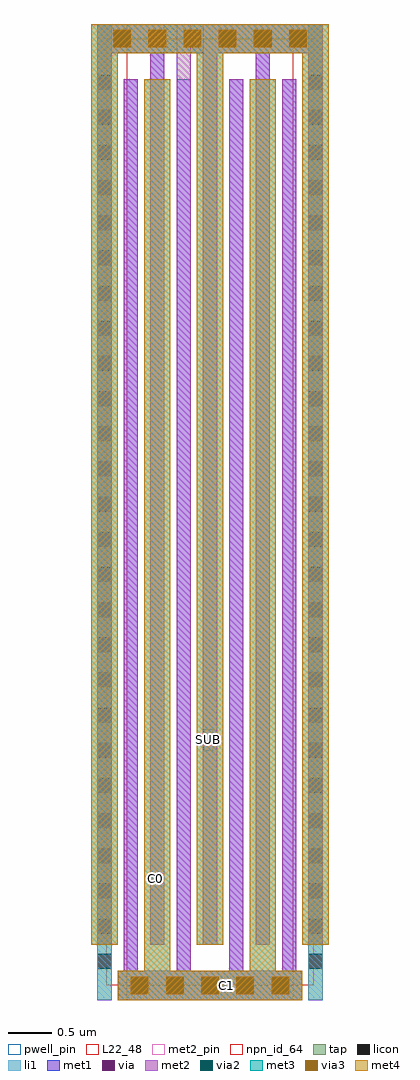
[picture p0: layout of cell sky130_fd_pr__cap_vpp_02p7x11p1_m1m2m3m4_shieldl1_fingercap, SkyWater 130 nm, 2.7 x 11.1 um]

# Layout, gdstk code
import gdstk
lib = gdstk.Library(unit=1e-6, precision=1e-09)
def R(c, l, rs):  # rectangles x0, y0, x1, y1
    for r in rs: c.add(gdstk.rectangle(r[:2], r[2:], *l))
def A(c, l, x, y, w, h, nx, ny, dx, dy):  # array of equal rectangles
    R(c, l, [(x+i*dx, y+j*dy, x+i*dx+w, y+j*dy+h) for i in range(nx) for j in range(ny)])
L22_48 = (22, 48)
tap = (65, 44)
licon = (66, 44)
li1 = (67, 20)
met1 = (68, 20)
via = (68, 44)
met2_pin = (69, 16)
met2 = (69, 20)
via2 = (69, 44)
met3 = (70, 20)
via3 = (70, 44)
met4 = (71, 20)
npn_id_64 = (82, 64)
pwell_pin = (122, 16)

sky130_fd_pr__cap_vpp_02 = lib.new_cell('sky130_fd_pr__cap_vpp_02p7x11p1_m1m2m3m4_shieldl1_fingercap')
R(sky130_fd_pr__cap_vpp_02, L22_48, [(0.405,0,2.295,11.1)])
R(sky130_fd_pr__cap_vpp_02, tap, [(0.065,0,0.235,11.1), (2.465,0,2.635,11.1)])
A(sky130_fd_pr__cap_vpp_02, licon, 0.065, 0.355, 0.17, 0.17, 1, 26, 0, 0.4)
A(sky130_fd_pr__cap_vpp_02, licon, 2.465, 0.355, 0.17, 0.17, 1, 26, 0, 0.4)
R(sky130_fd_pr__cap_vpp_02, li1, [(0.065,0,0.235,11.1), (2.465,0,2.635,11.1)])
A(sky130_fd_pr__cap_vpp_02, via, 0.475, 0.09, 0.15, 0.15, 5, 1, 0.4, 0)
A(sky130_fd_pr__cap_vpp_02, via, 1.475, 10.86, 0.15, 0.15, 3, 1, 0.4, 0)
R(sky130_fd_pr__cap_vpp_02, via, [(0.275,10.86,0.425,11.01)])
R(sky130_fd_pr__cap_vpp_02, met2_pin, [(1.43,0.08,1.61,0.26), (0.695,1.325,0.79,1.425)])
A(sky130_fd_pr__cap_vpp_02, via2, 0.45, 0.065, 0.2, 0.2, 5, 1, 0.4, 0)
A(sky130_fd_pr__cap_vpp_02, via2, 1.45, 10.835, 0.2, 0.2, 3, 1, 0.4, 0)
R(sky130_fd_pr__cap_vpp_02, via2, [(0.25,10.835,0.45,11.035)])
A(sky130_fd_pr__cap_vpp_02, via3, 0.45, 0.065, 0.2, 0.2, 5, 1, 0.4, 0)
A(sky130_fd_pr__cap_vpp_02, via3, 0.25, 10.835, 0.2, 0.2, 6, 1, 0.4, 0)
R(sky130_fd_pr__cap_vpp_02, npn_id_64, [(0.17,0.17,2.53,10.93)])
R(sky130_fd_pr__cap_vpp_02, pwell_pin, [(1.28,2.835,1.385,3.08)])
sky130_fd_pr__cap_vpp_02.add(gdstk.FlexPath([(0.3,0.165),(2.4,0.165)], 0.33, ends="flush", simple_path=True, layer=71, datatype=20))  # met4
sky130_fd_pr__cap_vpp_02.add(gdstk.FlexPath([(1.95,10.47),(1.95,0.33)], 0.3, ends="flush", simple_path=True, layer=71, datatype=20))  # met4
sky130_fd_pr__cap_vpp_02.add(gdstk.FlexPath([(0.75,10.47),(0.75,0.33)], 0.3, ends="flush", simple_path=True, layer=71, datatype=20))  # met4
sky130_fd_pr__cap_vpp_02.add(gdstk.FlexPath([(2.55,10.77),(2.55,0.63)], 0.3, ends="flush", simple_path=True, layer=71, datatype=20))  # met4
sky130_fd_pr__cap_vpp_02.add(gdstk.FlexPath([(1.35,10.77),(1.35,0.63)], 0.3, ends="flush", simple_path=True, layer=71, datatype=20))  # met4
sky130_fd_pr__cap_vpp_02.add(gdstk.FlexPath([(0,10.935),(2.7,10.935)], 0.33, ends="flush", simple_path=True, layer=71, datatype=20))  # met4
sky130_fd_pr__cap_vpp_02.add(gdstk.FlexPath([(0.15,10.77),(0.15,0.63)], 0.3, ends="flush", simple_path=True, layer=71, datatype=20))  # met4
sky130_fd_pr__cap_vpp_02.add(gdstk.FlexPath([(0,10.935),(2.7,10.935)], 0.33, ends="flush", simple_path=True, layer=70, datatype=20))  # met3
sky130_fd_pr__cap_vpp_02.add(gdstk.FlexPath([(1.95,10.47),(1.95,0.33)], 0.3, ends="flush", simple_path=True, layer=70, datatype=20))  # met3
sky130_fd_pr__cap_vpp_02.add(gdstk.FlexPath([(0.75,10.47),(0.75,0.33)], 0.3, ends="flush", simple_path=True, layer=70, datatype=20))  # met3
sky130_fd_pr__cap_vpp_02.add(gdstk.FlexPath([(1.35,10.77),(1.35,0.63)], 0.3, ends="flush", simple_path=True, layer=70, datatype=20))  # met3
sky130_fd_pr__cap_vpp_02.add(gdstk.FlexPath([(2.55,10.77),(2.55,0.63)], 0.3, ends="flush", simple_path=True, layer=70, datatype=20))  # met3
sky130_fd_pr__cap_vpp_02.add(gdstk.FlexPath([(0.15,10.77),(0.15,0.63)], 0.3, ends="flush", simple_path=True, layer=70, datatype=20))  # met3
sky130_fd_pr__cap_vpp_02.add(gdstk.FlexPath([(0.3,0.165),(2.4,0.165)], 0.33, ends="flush", simple_path=True, layer=70, datatype=20))  # met3
sky130_fd_pr__cap_vpp_02.add(gdstk.FlexPath([(1.65,10.47),(1.65,0.33)], 0.16, ends="flush", simple_path=True, layer=69, datatype=20))  # met2
sky130_fd_pr__cap_vpp_02.add(gdstk.FlexPath([(0.75,10.77),(0.75,0.63)], 0.16, ends="flush", simple_path=True, layer=69, datatype=20))  # met2
sky130_fd_pr__cap_vpp_02.add(gdstk.FlexPath([(1.05,11.1),(1.05,0.33)], 0.16, ends="flush", simple_path=True, layer=69, datatype=20))  # met2
sky130_fd_pr__cap_vpp_02.add(gdstk.FlexPath([(0.15,10.77),(0.15,0.63)], 0.16, ends="flush", simple_path=True, layer=69, datatype=20))  # met2
sky130_fd_pr__cap_vpp_02.add(gdstk.FlexPath([(0.45,10.47),(0.45,0.33)], 0.16, ends="flush", simple_path=True, layer=69, datatype=20))  # met2
sky130_fd_pr__cap_vpp_02.add(gdstk.FlexPath([(0.3,0.165),(2.4,0.165)], 0.33, ends="flush", simple_path=True, layer=69, datatype=20))  # met2
sky130_fd_pr__cap_vpp_02.add(gdstk.FlexPath([(2.55,10.77),(2.55,0.63)], 0.16, ends="flush", simple_path=True, layer=69, datatype=20))  # met2
sky130_fd_pr__cap_vpp_02.add(gdstk.FlexPath([(1.95,10.77),(1.95,0.63)], 0.16, ends="flush", simple_path=True, layer=69, datatype=20))  # met2
sky130_fd_pr__cap_vpp_02.add(gdstk.FlexPath([(2.25,10.47),(2.25,0.33)], 0.16, ends="flush", simple_path=True, layer=69, datatype=20))  # met2
sky130_fd_pr__cap_vpp_02.add(gdstk.FlexPath([(1.35,10.77),(1.35,0.63)], 0.16, ends="flush", simple_path=True, layer=69, datatype=20))  # met2
sky130_fd_pr__cap_vpp_02.add(gdstk.FlexPath([(0.07,10.935),(0.83,10.935)], 0.33, ends="flush", simple_path=True, layer=69, datatype=20))  # met2
sky130_fd_pr__cap_vpp_02.add(gdstk.FlexPath([(1.27,10.935),(2.63,10.935)], 0.33, ends="flush", simple_path=True, layer=69, datatype=20))  # met2
sky130_fd_pr__cap_vpp_02.add(gdstk.FlexPath([(0.3,0.165),(2.4,0.165)], 0.33, ends="flush", simple_path=True, layer=68, datatype=20))  # met1
sky130_fd_pr__cap_vpp_02.add(gdstk.FlexPath([(2.55,10.77),(2.55,0.63)], 0.16, ends="flush", simple_path=True, layer=68, datatype=20))  # met1
sky130_fd_pr__cap_vpp_02.add(gdstk.FlexPath([(0.07,10.935),(2.63,10.935)], 0.33, ends="flush", simple_path=True, layer=68, datatype=20))  # met1
sky130_fd_pr__cap_vpp_02.add(gdstk.FlexPath([(0.75,10.77),(0.75,0.63)], 0.16, ends="flush", simple_path=True, layer=68, datatype=20))  # met1
sky130_fd_pr__cap_vpp_02.add(gdstk.FlexPath([(1.05,10.47),(1.05,0.33)], 0.16, ends="flush", simple_path=True, layer=68, datatype=20))  # met1
sky130_fd_pr__cap_vpp_02.add(gdstk.FlexPath([(0.15,10.77),(0.15,0.63)], 0.16, ends="flush", simple_path=True, layer=68, datatype=20))  # met1
sky130_fd_pr__cap_vpp_02.add(gdstk.FlexPath([(0.45,10.47),(0.45,0.33)], 0.16, ends="flush", simple_path=True, layer=68, datatype=20))  # met1
sky130_fd_pr__cap_vpp_02.add(gdstk.FlexPath([(2.25,10.47),(2.25,0.33)], 0.16, ends="flush", simple_path=True, layer=68, datatype=20))  # met1
sky130_fd_pr__cap_vpp_02.add(gdstk.FlexPath([(1.95,10.77),(1.95,0.63)], 0.16, ends="flush", simple_path=True, layer=68, datatype=20))  # met1
sky130_fd_pr__cap_vpp_02.add(gdstk.FlexPath([(1.65,10.47),(1.65,0.33)], 0.16, ends="flush", simple_path=True, layer=68, datatype=20))  # met1
sky130_fd_pr__cap_vpp_02.add(gdstk.FlexPath([(1.35,10.77),(1.35,0.63)], 0.16, ends="flush", simple_path=True, layer=68, datatype=20))  # met1
sky130_fd_pr__cap_vpp_02.add(gdstk.Label('C0', (0.73,1.385), layer=69, texttype=5))
sky130_fd_pr__cap_vpp_02.add(gdstk.Label('C1', (1.535,0.17), layer=69, texttype=5))
sky130_fd_pr__cap_vpp_02.add(gdstk.Label('SUB', (1.335,2.96), layer=64, texttype=59))

lib.write_gds('sky130_fd_pr__cap_vpp_02p7x11p1_m1m2m3m4_shieldl1_fingercap.gds')
